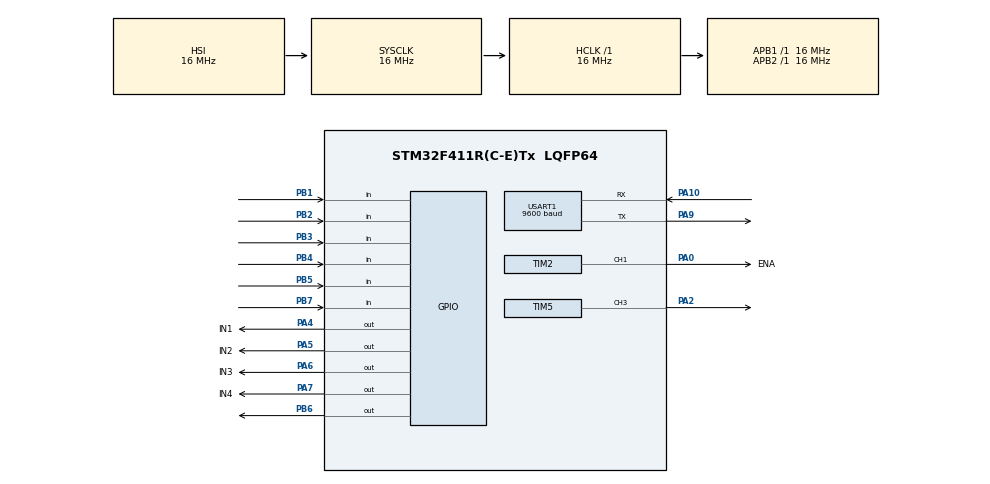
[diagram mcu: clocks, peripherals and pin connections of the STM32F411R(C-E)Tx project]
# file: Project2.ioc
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Mcu.Family=STM32F4
Mcu.Name=STM32F411R(C-E)Tx
Mcu.Package=LQFP64
NVIC.PriorityGroup=NVIC_PRIORITYGROUP_4
PA0-WKUP.GPIO_Label=ENA
PA0-WKUP.Signal=S_TIM2_CH1_ETR
PA10.Mode=Asynchronous
PA10.Signal=USART1_RX
PA2.Signal=S_TIM5_CH3
PA4.GPIO_Label=IN1
PA4.Signal=GPIO_Output
PA5.GPIO_Label=IN2
PA5.Signal=GPIO_Output
PA6.GPIO_Label=IN3
PA6.Signal=GPIO_Output
PA7.GPIO_Label=IN4
PA7.Signal=GPIO_Output
PA9.Mode=Asynchronous
PA9.Signal=USART1_TX
PB1.Signal=GPIO_Input
PB2.Signal=GPIO_Input
PB3.Signal=GPIO_Input
PB4.Signal=GPIO_Input
PB5.Signal=GPIO_Input
PB6.Signal=GPIO_Output
PB7.Signal=GPIO_Input
ProjectManager.HeapSize=0x200
ProjectManager.StackSize=0x400
ProjectManager.TargetToolchain=STM32CubeIDE
RCC.AHBFreq_Value=16000000
RCC.APB1Freq_Value=16000000
RCC.APB2Freq_Value=16000000
RCC.CortexFreq_Value=16000000
RCC.HSE_VALUE=25000000
RCC.HSI_VALUE=16000000
RCC.LSE_VALUE=32768
RCC.SYSCLKFreq_VALUE=16000000
RCC.VCOOutputFreq_Value=192000000
SH.S_TIM2_CH1_ETR.0=TIM2_CH1,PWM Generation1 CH1
SH.S_TIM5_CH3.0=TIM5_CH3,PWM Generation3 CH3
TIM2.Channel-PWM\ Generation1\ CH1=TIM_CHANNEL_1
TIM2.Period=99
TIM2.Prescaler=23
TIM5.Channel-PWM\ Generation3\ CH3=TIM_CHANNEL_3
TIM5.Period=99
USART1.BaudRate=9600
USART1.VirtualMode=VM_ASYNC
VP_TIM5_VS_ClockSourceINT.Mode=Internal
board=custom

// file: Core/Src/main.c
/* USER CODE BEGIN Header */
/**
  ******************************************************************************
  * @file           : main.c
  * @brief          : Main program body
  ******************************************************************************
  * @attention
  *
  * Copyright (c) 2025 STMicroelectronics.
  * All rights reserved.
  *
  * This software is licensed under terms that can be found in the LICENSE file
  * in the root directory of this software component.
  * If no LICENSE file comes with this software, it is provided AS-IS.
  *
  ******************************************************************************
  */
/* USER CODE END Header */
#include "main.h"

TIM_HandleTypeDef htim2;
TIM_HandleTypeDef htim5;

UART_HandleTypeDef huart1;

void SystemClock_Config(void);
static void MX_GPIO_Init(void);
static void MX_TIM2_Init(void);
static void MX_TIM5_Init(void);
static void MX_USART1_UART_Init(void);

/* USER CODE BEGIN 0 */
// Funkcja sterowania motorem A. Nie zmoglem podlaczyc Timera poprawnie.
void MotorA_Set(int speed) {
  if (speed > 99) speed = 99;
  if (speed < -99) speed = -99;

  if (speed > 0) {
    HAL_GPIO_WritePin(GPIOA, GPIO_PIN_4, GPIO_PIN_SET);
    HAL_GPIO_WritePin(GPIOA, GPIO_PIN_5, GPIO_PIN_RESET);
    __HAL_TIM_SET_COMPARE(&htim2, TIM_CHANNEL_1, speed);
  } else if (speed < 0) {
    HAL_GPIO_WritePin(GPIOA, GPIO_PIN_4, GPIO_PIN_RESET);
    HAL_GPIO_WritePin(GPIOA, GPIO_PIN_5, GPIO_PIN_SET);
    __HAL_TIM_SET_COMPARE(&htim2, TIM_CHANNEL_1, -speed);
  } else {
    HAL_GPIO_WritePin(GPIOA, GPIO_PIN_4, GPIO_PIN_RESET);
    HAL_GPIO_WritePin(GPIOA, GPIO_PIN_5, GPIO_PIN_RESET);
    __HAL_TIM_SET_COMPARE(&htim2, TIM_CHANNEL_1, 0);
  }
}

//Funkcji do czujnika dystancji. Na moment nie dziala
void DWT_Init(void) {
	if (!(CoreDebug->DEMCR & CoreDebug_DEMCR_TRCENA_Msk)) {
		CoreDebug->DEMCR |= CoreDebug_DEMCR_TRCENA_Msk;
		DWT->CYCCNT = 0;
		DWT->CTRL |= DWT_CTRL_CYCCNTENA_Msk;
	}
}

void Delay_us(volatile uint32_t microseconds) {
	uint32_t clk_cycle_start = DWT->CYCCNT;
	microseconds *= (HAL_RCC_GetHCLKFreq() / 1000000);
	while ((DWT->CYCCNT - clk_cycle_start) < microseconds);
}

uint32_t Ultrasonic_ReadCM(void) {
	uint32_t time = 0;

	HAL_GPIO_WritePin(GPIOB, GPIO_PIN_6, GPIO_PIN_RESET);
	Delay_us(2);
	HAL_GPIO_WritePin(GPIOB, GPIO_PIN_6, GPIO_PIN_SET);
	Delay_us(10);
	HAL_GPIO_WritePin(GPIOB, GPIO_PIN_7, GPIO_PIN_RESET);

	while(HAL_GPIO_ReadPin(ECHO_Port, ECHO_Pin) == GPIO_PIN_RESET);

	uint32_t start = DWT->CYCCNT;
	while(HAL_GPIO_ReadPin(ECHO_Port, ECHO_Pin) == GPIO_PIN_SET);
	uint32_t end = DWT->CYCCNT;

	time = (end - start) / (HAL_RCC_GetHCLKFreq() / 1000000); // в мкс

	return time / 58; // в см
}
// Funkcja sterowania motorem B. Nie zmoglem podlaczyc Timera poprawnie.
void MotorB_Set(int speed) {
  if (speed > 99) speed = 99;
  if (speed < -99) speed = -99;

  if (speed > 0) {
    HAL_GPIO_WritePin(GPIOA, GPIO_PIN_6, GPIO_PIN_SET);   // IN3
    HAL_GPIO_WritePin(GPIOA, GPIO_PIN_7, GPIO_PIN_RESET); // IN4
    __HAL_TIM_SET_COMPARE(&htim2, TIM_CHANNEL_3, speed);  // ENB (PA2)
  } else if (speed < 0) {
    HAL_GPIO_WritePin(GPIOA, GPIO_PIN_6, GPIO_PIN_RESET);
    HAL_GPIO_WritePin(GPIOA, GPIO_PIN_7, GPIO_PIN_SET);
    __HAL_TIM_SET_COMPARE(&htim2, TIM_CHANNEL_3, -speed);
  } else {
    HAL_GPIO_WritePin(GPIOA, GPIO_PIN_6, GPIO_PIN_RESET);
    HAL_GPIO_WritePin(GPIOA, GPIO_PIN_7, GPIO_PIN_RESET);
    __HAL_TIM_SET_COMPARE(&htim2, TIM_CHANNEL_3, 0);
  }
}
/* USER CODE END 0 */

int main(void)
{

  /* MCU Configuration--------------------------------------------------------*/

  /* Reset of all peripherals, Initializes the Flash interface and the Systick. */
  HAL_Init();

  /* Configure the system clock */
  SystemClock_Config();

  /* Initialize all configured peripherals */
  MX_GPIO_Init();
  MX_TIM2_Init();
  MX_TIM5_Init();
  MX_USART1_UART_Init();
  /* USER CODE BEGIN 2 */
  HAL_TIM_PWM_Start(&htim2, TIM_CHANNEL_1);
  HAL_TIM_PWM_Start(&htim2, TIM_CHANNEL_3);
  volatile uint8_t sensor_mode_enabled = 0; // 0 = выключен, 1 = включен
  DWT_Init(); // включаем точный таймер

  /* USER CODE END 2 */

  /* Infinite loop */
  while (1)
  {

    /* USER CODE BEGIN 3 */
	  // Bluetooth sterowanie
	  uint8_t data;
	  if (HAL_UART_Receive(&huart1, &data, 1, 100) == HAL_OK) {
		  // Jazda prosto
	      if (data == 'F') {
	          MotorA_Set(95);
	          MotorB_Set(95);
	          sensor_mode_enabled = 0; // Wylacenie jazdy po czujniku
	      }
	      // Stop
	      else if (data == 'S') {
	          MotorA_Set(0);
	          MotorB_Set(0);
	          sensor_mode_enabled = 0;
	      }
	      // Reverse
	      else if (data == 'B') {
	          MotorA_Set(-95);
	          MotorB_Set(-95);
	          sensor_mode_enabled = 0;
	      }
	      // Lewo
	      else if (data == 'L') {
	          MotorA_Set(0);
	          MotorB_Set(-95);
	          sensor_mode_enabled = 0;
	      }
	      // Prawo
	      else if (data == 'R') {
	          MotorA_Set(-95);
	          MotorB_Set(0);
	          sensor_mode_enabled = 0;
	      }
	      // Jazda zig-zagem
	      else if (data == 'Z') {
	          MotorA_Set(0);
	          MotorB_Set(95);
	          HAL_Delay(1000);
	          MotorA_Set(95);
	          MotorB_Set(0);
	          HAL_Delay(1000);
	          MotorA_Set(0);
	          MotorB_Set(95);
	          HAL_Delay(1000);
	          MotorA_Set(95);
	          MotorB_Set(0);
	          HAL_Delay(1000);
	          MotorA_Set(0);
	          MotorB_Set(95);
	          HAL_Delay(1000);
	          MotorA_Set(0);
	          MotorB_Set(0);
	          sensor_mode_enabled = 0;
	      }
	      // Wraca na 180*
	      else if (data == 'T') {
	          MotorA_Set(95);
	          MotorB_Set(-95);
	          HAL_Delay(5000);
	          MotorA_Set(0);
	          MotorB_Set(0);
	          sensor_mode_enabled = 0;
	      }
	      else if (data == 'I') {
	          sensor_mode_enabled = !sensor_mode_enabled;
	          if (sensor_mode_enabled) {
	              HAL_UART_Transmit(&huart1, (uint8_t*)"Sensor Mode ON\r\n", 16, 100);
	          } else {
	              MotorA_Set(0);
	              MotorB_Set(0);
	              HAL_UART_Transmit(&huart1, (uint8_t*)"Sensor Mode OFF\r\n", 17, 100);
	          }
	      }
	  }

	  // Funkcja sterowania samochodu za pomocy IR czujniku
	  if (sensor_mode_enabled) {
	      uint8_t D1 = HAL_GPIO_ReadPin(GPIOB, GPIO_PIN_1);
	      uint8_t D2 = HAL_GPIO_ReadPin(GPIOB, GPIO_PIN_2);
	      uint8_t D3 = HAL_GPIO_ReadPin(GPIOB, GPIO_PIN_3);
	      uint8_t D4 = HAL_GPIO_ReadPin(GPIOB, GPIO_PIN_4);
	      uint8_t D5 = HAL_GPIO_ReadPin(GPIOB, GPIO_PIN_5);

	      if (D1 != GPIO_PIN_SET) {
	        while (HAL_GPIO_ReadPin(GPIOB, GPIO_PIN_3) != GPIO_PIN_RESET) {
	          MotorA_Set(-95);
	          MotorB_Set(95);
	        }
	      }
	      else if (D5 != GPIO_PIN_SET) {
	        while (HAL_GPIO_ReadPin(GPIOB, GPIO_PIN_3) != GPIO_PIN_RESET) {
	          MotorA_Set(95);
	          MotorB_Set(-95);
	        }
	      }
	      else if (D2 != GPIO_PIN_SET) {
	        MotorA_Set(0);
	        MotorB_Set(95);
	        while (HAL_GPIO_ReadPin(GPIOB, GPIO_PIN_2) != GPIO_PIN_SET) {
	            // if (!sensor_mode_enabled) { MotorA_Set(0); MotorB_Set(0); break; }
	        }
	      }
	      else if (D4 != GPIO_PIN_SET) {
	        MotorA_Set(95); // левый продолжает
	        MotorB_Set(0);
	        while (HAL_GPIO_ReadPin(GPIOB, GPIO_PIN_4) != GPIO_PIN_SET) {
	            // if (!sensor_mode_enabled) { MotorA_Set(0); MotorB_Set(0); break; }
	        }
	      }
	      else {
	        MotorA_Set(95);
	        MotorB_Set(95);
	      }
	      HAL_Delay(10);
	  }
	  // Bez zadnych komand - stop
	  else {
	      MotorA_Set(0);
	      MotorB_Set(0);
	  }
    /* USER CODE BEGIN 3 */
  }
  /* USER CODE END 3 */
}

void SystemClock_Config(void)
{
  RCC_OscInitTypeDef RCC_OscInitStruct = {0};
  RCC_ClkInitTypeDef RCC_ClkInitStruct = {0};

  /** Configure the main internal regulator output voltage
  */
  __HAL_RCC_PWR_CLK_ENABLE();
  __HAL_PWR_VOLTAGESCALING_CONFIG(PWR_REGULATOR_VOLTAGE_SCALE1);

  /** Initializes the RCC Oscillators according to the specified parameters
  * in the RCC_OscInitTypeDef structure.
  */
  RCC_OscInitStruct.OscillatorType = RCC_OSCILLATORTYPE_HSI;
  RCC_OscInitStruct.HSIState = RCC_HSI_ON;
  RCC_OscInitStruct.HSICalibrationValue = RCC_HSICALIBRATION_DEFAULT;
  RCC_OscInitStruct.PLL.PLLState = RCC_PLL_NONE;
  if (HAL_RCC_OscConfig(&RCC_OscInitStruct) != HAL_OK)
  {
    Error_Handler();
  }

  /** Initializes the CPU, AHB and APB buses clocks
  */
  RCC_ClkInitStruct.ClockType = RCC_CLOCKTYPE_HCLK|RCC_CLOCKTYPE_SYSCLK
                              |RCC_CLOCKTYPE_PCLK1|RCC_CLOCKTYPE_PCLK2;
  RCC_ClkInitStruct.SYSCLKSource = RCC_SYSCLKSOURCE_HSI;
  RCC_ClkInitStruct.AHBCLKDivider = RCC_SYSCLK_DIV1;
  RCC_ClkInitStruct.APB1CLKDivider = RCC_HCLK_DIV1;
  RCC_ClkInitStruct.APB2CLKDivider = RCC_HCLK_DIV1;

  if (HAL_RCC_ClockConfig(&RCC_ClkInitStruct, FLASH_LATENCY_0) != HAL_OK)
  {
    Error_Handler();
  }
}

static void MX_TIM2_Init(void)
{

  TIM_MasterConfigTypeDef sMasterConfig = {0};
  TIM_OC_InitTypeDef sConfigOC = {0};

  htim2.Instance = TIM2;
  htim2.Init.Prescaler = 23;
  htim2.Init.CounterMode = TIM_COUNTERMODE_UP;
  htim2.Init.Period = 99;
  htim2.Init.ClockDivision = TIM_CLOCKDIVISION_DIV1;
  htim2.Init.AutoReloadPreload = TIM_AUTORELOAD_PRELOAD_DISABLE;
  if (HAL_TIM_PWM_Init(&htim2) != HAL_OK)
  {
    Error_Handler();
  }
  sMasterConfig.MasterOutputTrigger = TIM_TRGO_RESET;
  sMasterConfig.MasterSlaveMode = TIM_MASTERSLAVEMODE_DISABLE;
  if (HAL_TIMEx_MasterConfigSynchronization(&htim2, &sMasterConfig) != HAL_OK)
  {
    Error_Handler();
  }
  sConfigOC.OCMode = TIM_OCMODE_PWM1;
  sConfigOC.Pulse = 0;
  sConfigOC.OCPolarity = TIM_OCPOLARITY_HIGH;
  sConfigOC.OCFastMode = TIM_OCFAST_DISABLE;
  if (HAL_TIM_PWM_ConfigChannel(&htim2, &sConfigOC, TIM_CHANNEL_1) != HAL_OK)
  {
    Error_Handler();
  }
  HAL_TIM_MspPostInit(&htim2);

}

static void MX_TIM5_Init(void)
{

  TIM_ClockConfigTypeDef sClockSourceConfig = {0};
  TIM_MasterConfigTypeDef sMasterConfig = {0};
  TIM_OC_InitTypeDef sConfigOC = {0};

  htim5.Instance = TIM5;
  htim5.Init.Prescaler = 0;
  htim5.Init.CounterMode = TIM_COUNTERMODE_UP;
  htim5.Init.Period = 99;
  htim5.Init.ClockDivision = TIM_CLOCKDIVISION_DIV1;
  htim5.Init.AutoReloadPreload = TIM_AUTORELOAD_PRELOAD_DISABLE;
  if (HAL_TIM_Base_Init(&htim5) != HAL_OK)
  {
    Error_Handler();
  }
  sClockSourceConfig.ClockSource = TIM_CLOCKSOURCE_INTERNAL;
  if (HAL_TIM_ConfigClockSource(&htim5, &sClockSourceConfig) != HAL_OK)
  {
    Error_Handler();
  }
  if (HAL_TIM_PWM_Init(&htim5) != HAL_OK)
  {
    Error_Handler();
  }
  sMasterConfig.MasterOutputTrigger = TIM_TRGO_RESET;
  sMasterConfig.MasterSlaveMode = TIM_MASTERSLAVEMODE_DISABLE;
  if (HAL_TIMEx_MasterConfigSynchronization(&htim5, &sMasterConfig) != HAL_OK)
  {
    Error_Handler();
  }
  sConfigOC.OCMode = TIM_OCMODE_PWM1;
  sConfigOC.Pulse = 0;
  sConfigOC.OCPolarity = TIM_OCPOLARITY_HIGH;
  sConfigOC.OCFastMode = TIM_OCFAST_DISABLE;
  if (HAL_TIM_PWM_ConfigChannel(&htim5, &sConfigOC, TIM_CHANNEL_3) != HAL_OK)
  {
    Error_Handler();
  }
  HAL_TIM_MspPostInit(&htim5);

}

static void MX_USART1_UART_Init(void)
{

  huart1.Instance = USART1;
  huart1.Init.BaudRate = 9600;
  huart1.Init.WordLength = UART_WORDLENGTH_8B;
  huart1.Init.StopBits = UART_STOPBITS_1;
  huart1.Init.Parity = UART_PARITY_NONE;
  huart1.Init.Mode = UART_MODE_TX_RX;
  huart1.Init.HwFlowCtl = UART_HWCONTROL_NONE;
  huart1.Init.OverSampling = UART_OVERSAMPLING_16;
  if (HAL_UART_Init(&huart1) != HAL_OK)
  {
    Error_Handler();
  }

}

static void MX_GPIO_Init(void)
{
  GPIO_InitTypeDef GPIO_InitStruct = {0};

  /* GPIO Ports Clock Enable */
  __HAL_RCC_GPIOA_CLK_ENABLE();
  __HAL_RCC_GPIOB_CLK_ENABLE();

  /*Configure GPIO pin Output Level */
  HAL_GPIO_WritePin(GPIOA, IN1_Pin|IN2_Pin|IN3_Pin|IN4_Pin, GPIO_PIN_RESET);

  /*Configure GPIO pin Output Level */
  HAL_GPIO_WritePin(GPIOB, GPIO_PIN_6, GPIO_PIN_RESET);

  /*Configure GPIO pins : IN1_Pin IN2_Pin IN3_Pin IN4_Pin */
  GPIO_InitStruct.Pin = IN1_Pin|IN2_Pin|IN3_Pin|IN4_Pin;
  GPIO_InitStruct.Mode = GPIO_MODE_OUTPUT_PP;
  GPIO_InitStruct.Pull = GPIO_NOPULL;
  GPIO_InitStruct.Speed = GPIO_SPEED_FREQ_LOW;
  HAL_GPIO_Init(GPIOA, &GPIO_InitStruct);

  /*Configure GPIO pins : PB1 PB2 PB3 PB4
                           PB5 PB7 */
  GPIO_InitStruct.Pin = GPIO_PIN_1|GPIO_PIN_2|GPIO_PIN_3|GPIO_PIN_4
                          |GPIO_PIN_5|GPIO_PIN_7;
  GPIO_InitStruct.Mode = GPIO_MODE_INPUT;
  GPIO_InitStruct.Pull = GPIO_NOPULL;
  HAL_GPIO_Init(GPIOB, &GPIO_InitStruct);

  /*Configure GPIO pin : PB6 */
  GPIO_InitStruct.Pin = GPIO_PIN_6;
  GPIO_InitStruct.Mode = GPIO_MODE_OUTPUT_PP;
  GPIO_InitStruct.Pull = GPIO_NOPULL;
  GPIO_InitStruct.Speed = GPIO_SPEED_FREQ_LOW;
  HAL_GPIO_Init(GPIOB, &GPIO_InitStruct);

}

void Error_Handler(void)
{
  __disable_irq();
  while (1)
  {
  }
}
